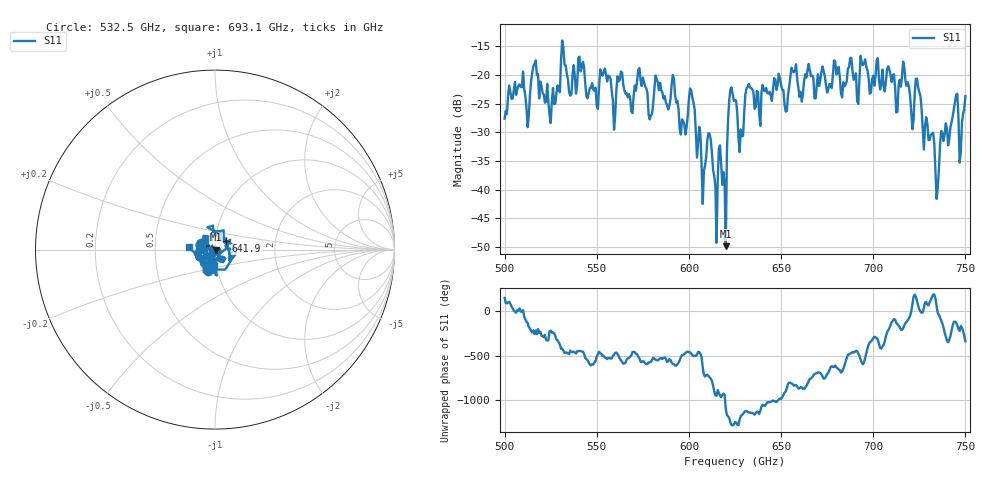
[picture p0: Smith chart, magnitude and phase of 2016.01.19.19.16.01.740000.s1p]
!Created with skrf (http://scikit-rf.org).
# GHz S RI R 50.0
!freq ReS11 ImS11
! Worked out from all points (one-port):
!   401 points, 500 GHz to 750 GHz, reference 50 ohm
!   lowest |S11| = -49.8 dB at 620 GHz (marker M1), VSWR 1.01, Z = 50.3 - j0.0999 ohm
!   |S11| at or under -10 dB: start of sweep to end of sweep
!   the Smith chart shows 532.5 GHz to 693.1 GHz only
!   S11 on the Smith chart (normalised r, x): 532.5 GHz: 0.90, -0.21; 641.9 GHz: 1.13, +0.10; 693.1 GHz: 0.74, +0.02
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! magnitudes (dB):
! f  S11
! 500 GHz  -27.6
! 508.8 GHz  -22.1
! 512.5 GHz  -29.1
! 516.2 GHz  -18.1
! 525.6 GHz  -24.7
! 531.2 GHz  -14.0
! 532.5 GHz  -18.2
! 559.4 GHz  -29.5
! 562.5 GHz  -20.8
! 593.8 GHz  -24.5
! 601.2 GHz  -22.7
! 608.1 GHz  -36.7
! 611.2 GHz  -30.3
! 614.4 GHz  -39.5
! 620 GHz  -49.8
! 622.5 GHz  -22.5
! 625 GHz  -24.4
! 628.1 GHz  -29.5
! 631.9 GHz  -22.0
! 641.9 GHz  -22.2
! 653.1 GHz  -26.3
! 656.2 GHz  -19.3
! 687.5 GHz  -17.0
! 693.1 GHz  -16.6
! 718.8 GHz  -21.3
! 724.4 GHz  -22.2
! 734.4 GHz  -41.6
! 750 GHz  -23.7
